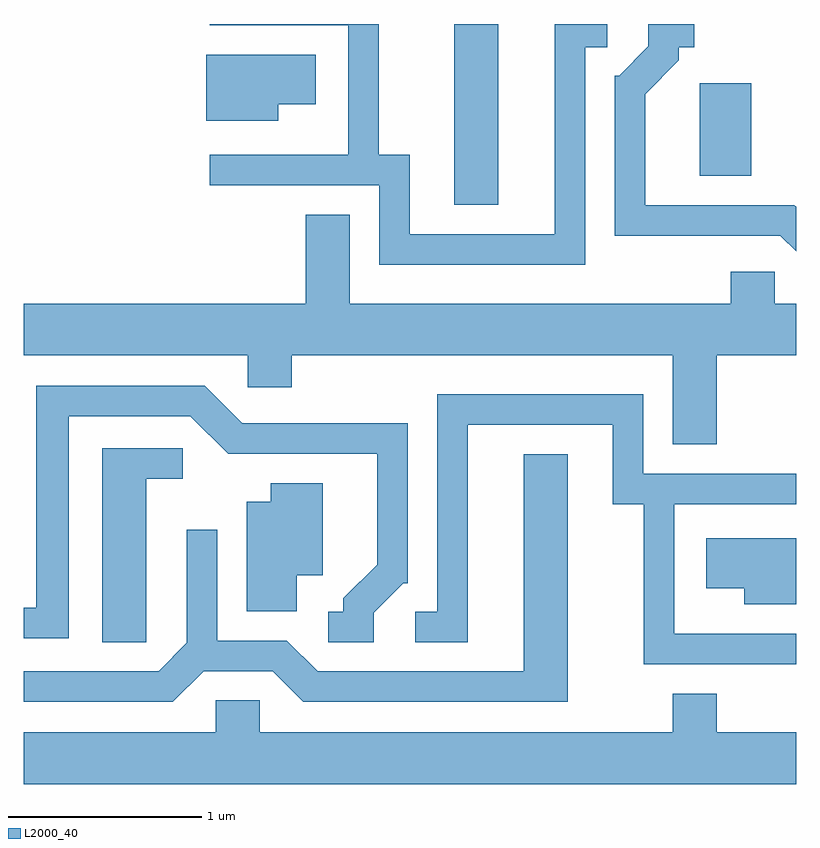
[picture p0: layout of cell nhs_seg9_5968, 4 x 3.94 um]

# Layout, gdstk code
import gdstk
lib = gdstk.Library(unit=1e-6, precision=1e-09)
def R(c, l, rs):  # rectangles x0, y0, x1, y1
    for r in rs: c.add(gdstk.rectangle(r[:2], r[2:], *l))
def P(c, l, *ps):  # polygons
    for p in ps: c.add(gdstk.Polygon(p, *l))
L2000_40 = (2000, 40)

nhs_seg9_5968 = lib.new_cell('nhs_seg9_5968')
R(nhs_seg9_5968, L2000_40, [(363.841,1981.496,364.069,1982.432), (365.111,1981.646,365.379,1982.124)])
P(nhs_seg9_5968, L2000_40, [(364.519,1982.311),(364.633,1982.311),(364.633,1982.432),(364.361,1982.432),(364.361,1981.344),(363.609,1981.344),(363.609,1981.754),(363.449,1981.754),(363.449,1982.432),(362.573,1982.432),(362.573,1982.426),(363.291,1982.426),(363.291,1981.754),(362.573,1981.754),(362.573,1981.596),(363.451,1981.596),(363.451,1981.186),(364.519,1981.186)],
  [(365.611,1981.485),(365.602,1981.494),(364.829,1981.494),(364.829,1982.069),(365.004,1982.244),(365.004,1982.311),(365.083,1982.311),(365.083,1982.432),(364.846,1982.432),(364.846,1982.317),(364.694,1982.164),(364.671,1982.164),(364.671,1981.336),(365.529,1981.336),(365.611,1981.254)],
  [(362.929,1982.016),(363.124,1982.016),(363.124,1982.274),(362.556,1982.274),(362.556,1981.931),(362.929,1981.931)],
  [(365.199,1980.716),(365.611,1980.716),(365.611,1980.984),(365.499,1980.984),(365.499,1981.149),(365.271,1981.149),(365.271,1980.984),(363.299,1980.984),(363.299,1981.444),(363.071,1981.444),(363.071,1980.984),(361.611,1980.984),(361.611,1980.716),(362.771,1980.716),(362.771,1980.551),(362.999,1980.551),(362.999,1980.716),(364.971,1980.716),(364.971,1980.256),(365.199,1980.256)],
  [(363.424,1979.384),(363.577,1979.536),(363.599,1979.536),(363.599,1980.364),(362.742,1980.364),(362.547,1980.559),(361.676,1980.559),(361.676,1979.409),(361.611,1979.409),(361.611,1979.251),(361.844,1979.251),(361.844,1980.401),(362.474,1980.401),(362.669,1980.206),(363.441,1980.206),(363.441,1979.632),(363.266,1979.457),(363.266,1979.389),(363.188,1979.389),(363.188,1979.231),(363.424,1979.231)],
  [(365.611,1979.274),(364.979,1979.274),(364.979,1979.946),(365.611,1979.946),(365.611,1980.104),(364.819,1980.104),(364.819,1980.514),(363.751,1980.514),(363.751,1979.389),(363.638,1979.389),(363.638,1979.231),(363.909,1979.231),(363.909,1980.356),(364.661,1980.356),(364.661,1979.946),(364.821,1979.946),(364.821,1979.116),(365.611,1979.116)],
  [(362.244,1980.076),(362.433,1980.076),(362.433,1980.234),(362.016,1980.234),(362.016,1979.231),(362.244,1979.231)],
  [(362.542,1979.081),(362.899,1979.081),(363.059,1978.921),(364.429,1978.921),(364.429,1980.204),(364.201,1980.204),(364.201,1979.079),(363.132,1979.079),(362.972,1979.239),(362.614,1979.239),(362.614,1979.813),(362.456,1979.813),(362.456,1979.227),(362.309,1979.079),(361.611,1979.079),(361.611,1978.921),(362.382,1978.921)],
  [(363.024,1979.576),(363.159,1979.576),(363.159,1980.054),(362.891,1980.054),(362.891,1979.959),(362.766,1979.959),(362.766,1979.391),(363.024,1979.391)],
  [(365.611,1979.769),(365.146,1979.769),(365.146,1979.511),(365.341,1979.511),(365.341,1979.426),(365.611,1979.426)],
  [(365.611,1978.764),(365.199,1978.764),(365.199,1978.964),(364.971,1978.964),(364.971,1978.764),(362.834,1978.764),(362.834,1978.929),(362.606,1978.929),(362.606,1978.764),(361.611,1978.764),(361.611,1978.496),(365.611,1978.496)])

lib.write_gds('nhs_seg9_5968.gds')
